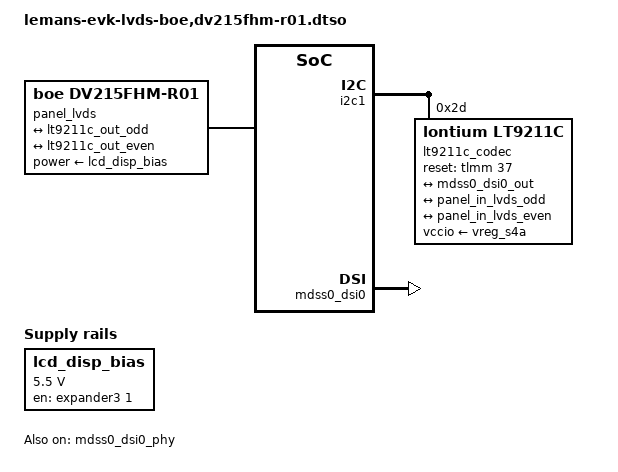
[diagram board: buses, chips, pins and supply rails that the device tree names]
// SPDX-License-Identifier: BSD-3-Clause
/*
 * Copyright (c) Qualcomm Technologies, Inc. and/or its subsidiaries.
 */

/dts-v1/;
/plugin/;

#include <dt-bindings/gpio/gpio.h>

&{/} {
	model = "Qualcomm Technologies, Inc. Lemans EVK LVDS";

	panel_lvds: panel-lvds {
		compatible = "boe,dv215fhm-r01";
		power-supply = <&lcd_disp_bias>;

		ports {
			#address-cells = <1>;
			#size-cells = <0>;

			port@0 {
				reg = <0>;
				dual-lvds-odd-pixels;

				panel_in_lvds_odd: endpoint {
					remote-endpoint = <&lt9211c_out_odd>;
				};
			};

			port@1 {
				reg = <1>;
				dual-lvds-even-pixels;

				panel_in_lvds_even: endpoint {
					remote-endpoint = <&lt9211c_out_even>;
				};
			};
		};
	};

	lcd_disp_bias: regulator-lcd-disp-bias {
		compatible = "regulator-fixed";
		regulator-name = "lcd_disp_bias";
		regulator-min-microvolt = <5500000>;
		regulator-max-microvolt = <5500000>;
		gpio = <&expander3 1 GPIO_ACTIVE_HIGH>;
		enable-active-high;
	};
};

&i2c1 {
	#address-cells = <1>;
	#size-cells = <0>;
	pinctrl-names = "default";
	pinctrl-0 = <&qup_i2c1_default>;

	status = "okay";

	lt9211c_codec: lvds-bridge@2d {
		compatible = "lontium,lt9211c";
		reg = <0x2d>;
		reset-gpios = <&tlmm 37 GPIO_ACTIVE_HIGH>;
		vccio-supply = <&vreg_s4a>;

		ports {
			#address-cells = <1>;
			#size-cells = <0>;

			port@0 {
				reg = <0>;

				lt9211c_in: endpoint {
					data-lanes = <1 2 3 4>;
					remote-endpoint = <&mdss0_dsi0_out>;
				};
			};

			port@2 {
				reg = <2>;

				lt9211c_out_odd: endpoint {
					remote-endpoint = <&panel_in_lvds_odd>;
				};
			};

			port@3 {
				reg = <3>;

				lt9211c_out_even: endpoint {
					remote-endpoint = <&panel_in_lvds_even>;
				};
			};
		};
	};
};

&mdss0_dsi0 {
	vdda-supply = <&vreg_l1c>;

	status = "okay";
};

&mdss0_dsi0_out {
	data-lanes = <0 1 2 3>;
	remote-endpoint = <&lt9211c_in>;
};

&mdss0_dsi0_phy {
	vdds-supply = <&vreg_l4a>;

	status = "okay";
};
